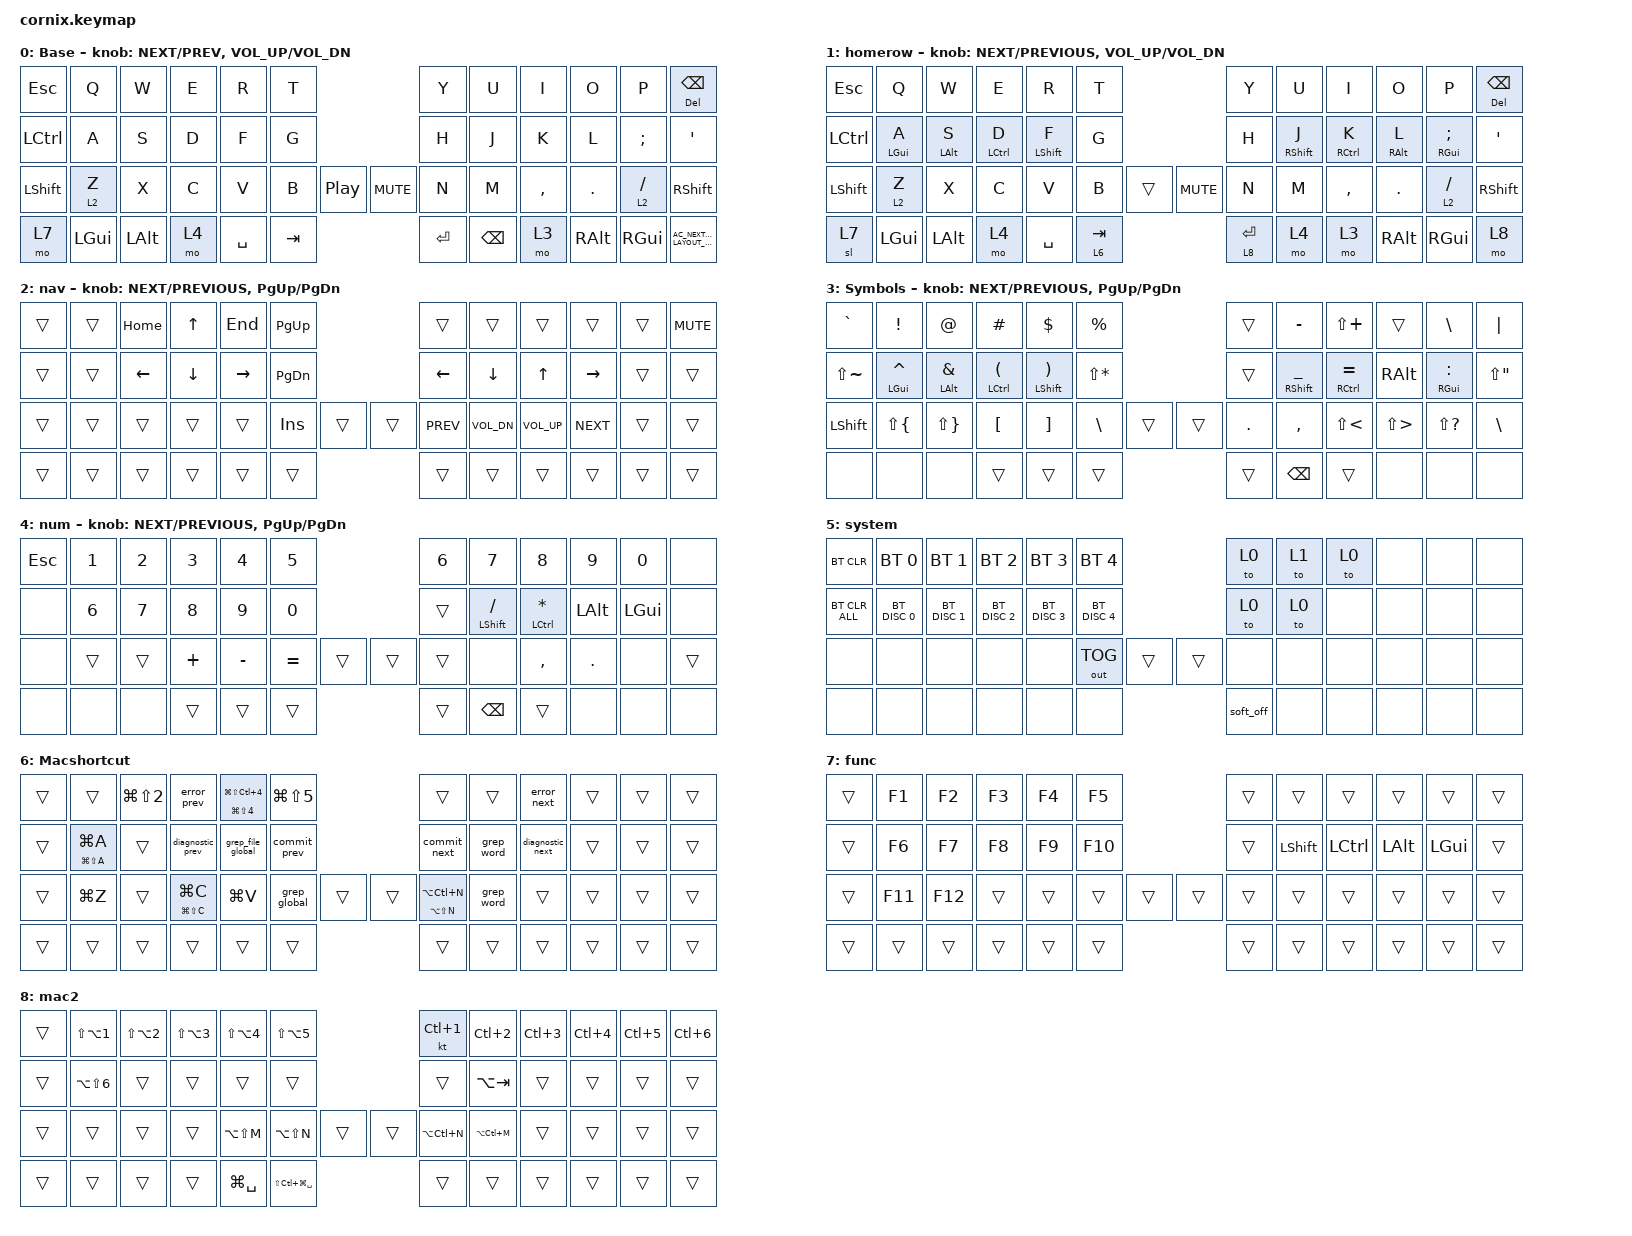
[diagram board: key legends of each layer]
/*
 * Copyright (c) 2020 The ZMK Contributors
 *
 * SPDX-License-Identifier: MIT
 */

#include "zmk-helpers/helper.h"
#include "includes/cornix54.h"

// tap windows for ctl alt and gui

#define HM_TAPPING_TERM 250
#define HM_TAPPING_REPEAT 210

// quick tapping for shift

#define HM_TAPPING_TERM_FAST 200
#define HM_PRIOR_IDLE 70
#define BASE 0
#define WIN 1
#define LOWER 2
#define RAISE 3
#define ADJUST 4
#define NAVI   5
#define NUM    6
#define DEBUG  7

// https://github.com/urob/zmk-config/tree/main#timeless-homerow-mods

#define KEYS_L LT0 LT1 LT2 LT3 LT4 LT5 LM0 LM1 LM2 LM3 LM4 LM5 LB0 LB1 LB2 LB3 LB4 LB5  // left hand
#define KEYS_R RT0 RT1 RT2 RT3 RT4 RT5 RM0 RM1 RM2 RM3 RM4 RM5 RB0 RB1 RB2 RB3 RB4 RB5  // right hand
#define THUMBS LH1 LH0 RH0 RH1
#define KEYS_T LH1 LH0 RH0 RH1
#define ZMK_POINTING_DEFAULT_SCRL_VAL 15

#include <behaviors.dtsi>
#include <dt-bindings/zmk/bt.h>
#include <dt-bindings/zmk/keys.h>
#include <dt-bindings/zmk/outputs.h>

/ {
    // Activate ADJUST layer by pressing raise and lower

    behaviors {
        hml: homerow_mods_left {
            compatible = "zmk,behavior-hold-tap";
            #binding-cells = <2>;
            bindings = <&kp>, <&kp>;

            flavor = "balanced";
            tapping-term-ms = <230>;
            quick-tap-ms = <175>;                // repeat on tap-into-hold
            require-prior-idle-ms = <150>;
            hold-trigger-key-positions = <KEYS_R KEYS_T 16 15 14 13>;
            hold-trigger-on-release;
        };

        hmr: homerow_mods_right {
            compatible = "zmk,behavior-hold-tap";
            #binding-cells = <2>;
            bindings = <&kp>, <&kp>;

            flavor = "balanced";
            tapping-term-ms = <230>;
            quick-tap-ms = <175>;
            require-prior-idle-ms = <150>;
            hold-trigger-key-positions = <KEYS_L KEYS_T 19 20 21 22>;
            hold-trigger-on-release;
        };

        // Positional Homerow mods for shift
        // Use faster tapping term and disable some features that may
        // cause false negatives.
        /*
         * Non-Positional Homerow Mods
         * Used for &mm_grescm_gui behavior on left hand.
         *
         * Usage: &hm LSHFT T
         * Tap: T
         * Tap-Tap-Hold: Repeat T
         * Hold: LSHIFT
         */

        hm: homerow_mods {
            compatible = "zmk,behavior-hold-tap";
            #binding-cells = <2>;
            bindings = <&kp>, <&kp>;

            flavor = "balanced";
            tapping-term-ms = <HM_TAPPING_TERM>;
            quick-tap-ms = <200>;
        };

        mac_bksp: mac_bksp {
            compatible = "zmk,behavior-tap-dance";
            label = "MAC_BKSP";
            #binding-cells = <0>;
            bindings =
                <&kp BACKSPACE>,
                <&kp LA(BACKSPACE)>,
                <&kp LG(BACKSPACE)>;

            tapping-term-ms = <180>;
        };
    };

    conditional_layers {
        compatible = "zmk,conditional-layers";

        system {
            if-layers = <4 3>;
            then-layer = <5>;
        };
    };

    combos {
        compatible = "zmk,combos";

        tog_mix {
            bindings = <&tog 4>;
            key-positions = <18 44>;
            layers = <1 0 4>;
        };

        escape {
            bindings = <&kp ESCAPE>;
            key-positions = <16 41>;
            layers = <1 0>;
        };

        tog_symb {
            bindings = <&tog 3>;
            key-positions = <19 44>;
            layers = <1 0 3>;
        };

        desktop-1 {
            bindings = <&kp LC(N1)>;
            key-positions = <12 1>;
            layers = <1>;
        };

        desktop-2 {
            bindings = <&kp LC(NUMBER_2)>;
            key-positions = <12 2>;
            layers = <1>;
        };

        desktop-3 {
            bindings = <&kp LC(NUMBER_3)>;
            key-positions = <12 3>;
            layers = <1>;
        };

        desktop-4 {
            bindings = <&kp LC(NUMBER_4)>;
            key-positions = <12 4>;
            layers = <1>;
        };

        desktop-5 {
            bindings = <&kp LC(N5)>;
            key-positions = <12 5>;
            layers = <1>;
        };

        caps {
            bindings = <&kt CAPSLOCK>;
            key-positions = <24 37>;
            layers = <0 1>;
        };

        left-parenthesis {
            bindings = <&kp LEFT_PARENTHESIS>;
            key-positions = <16 15>;
            layers = <1>;
        };

        right-parenthesis {
            bindings = <&kp RIGHT_PARENTHESIS>;
            key-positions = <19 20>;
            layers = <1>;
        };

        left-bracket {
            bindings = <&kp LEFT_BRACKET>;
            key-positions = <4 3>;
            layers = <1>;
        };

        right-bracket {
            bindings = <&kp RIGHT_BRACKET>;
            key-positions = <7 8>;
            layers = <1>;
        };

        left-brace {
            bindings = <&kp LEFT_BRACE>;
            key-positions = <28 27>;
            layers = <1>;
        };

        right-brace {
            bindings = <&kp RIGHT_BRACE>;
            key-positions = <33 34>;
            layers = <1>;
        };
    };

    macros {
        commit_next: commit_next {
            compatible = "zmk,behavior-macro";
            #binding-cells = <0>;
            bindings = <&kp RBKT &kp H>;
            label = "COMMIT_NEXT";
        };

        commit_prev: commit_prev {
            compatible = "zmk,behavior-macro";
            #binding-cells = <0>;
            bindings = <&kp LBKT &kp H>;
            label = "COMMIT_PREV";
        };

        error_next: error_next {
            compatible = "zmk,behavior-macro";
            #binding-cells = <0>;
            bindings = <&kp RBKT &kp E>;
            label = "ERROR_NEXT";
        };

        error_prev: error_prev {
            compatible = "zmk,behavior-macro";
            #binding-cells = <0>;
            bindings = <&kp LBKT &kp E>;
            label = "ERROR_PREV";
        };

        grep_file_global: grep_file_global {
            compatible = "zmk,behavior-macro";
            #binding-cells = <0>;
            bindings = <&kp SPACE &kp F &kp LS(F)>;
            label = "GREP_FILE_GLOBAL";
        };

        grep_global: grep_global {
            compatible = "zmk,behavior-macro";
            #binding-cells = <0>;
            bindings = <&kp SPACE &kp S &kp LS(G)>;
            label = "GREP_GLOBAL";
        };

        grep_word: grep_word {
            compatible = "zmk,behavior-macro";
            #binding-cells = <0>;
            bindings = <&kp SPACE &kp S &kp LS(W)>;
            label = "GREP_WORD";
        };

        diagnostic_next: diagnostic_next {
            compatible = "zmk,behavior-macro";
            #binding-cells = <0>;
            bindings = <&kp RBKT &kp D>;
            label = "DIAGNOSTIC_NEXT";
        };

        diagnostic_prev: diagnostic_prev {
            compatible = "zmk,behavior-macro";
            #binding-cells = <0>;
            bindings = <&kp LBKT &kp D>;
            label = "DIAGNOSTIC_PREV";
        };
    };

    keymap {
        compatible = "zmk,keymap";

        Base {
            display-name = "Base";

            // ------------------------------------------------------------------------------------------------------------
            // |   `   |  1  |  2  |  3   |  4   |  5   |                   |  6   |  7    |  8    |  9   |   0   |       |
            // |  ESC  |  Q  |  W  |  E   |  R   |  T   |                   |  Y   |  U    |  I    |  O   |   P   | BKSPC |
            // |  TAB  |  A  |  S  |  D   |  F   |  G   |                   |  H   |  J    |  K    |  L   |   ;   |   '   |
            // | SHIFT |  Z  |  X  |  C   |  V   |  B   |  MUTE  |  |       |  N   |  M    |  ,    |  .   |   /   | SHIFT |
            //               | GUI | ALT  | CTRL | LOWER|  ENTER |  | SPACE | RAISE| CTRL  | ALT   | GUI  |

            bindings = <
&kp ESCAPE  &kp Q     &kp W     &kp E  &kp R      &kp T                                  &kp Y      &kp U     &kp I      &kp O          &kp P          &mt DEL BACKSPACE
&kp LCTRL   &kp A     &kp S     &kp D  &kp F      &kp G                                  &kp H      &kp J     &kp K      &kp L          &kp SEMI       &kp SQT
&kp LSHFT   &lt 2 Z   &kp X     &kp C  &kp V      &kp B    &kp C_PLAY_PAUSE  &kp C_MUTE  &kp N      &kp M     &kp COMMA  &kp DOT        &lt 2 SLASH    &kp RSHFT
&mo 7       &kp LGUI  &kp LALT  &mo 4  &kp SPACE  &kp TAB                                &kp ENTER  &kp BSPC  &mo 3      &kp RIGHT_ALT  &kp RIGHT_GUI  &kp C_AC_NEXT_KEYBOARD_LAYOUT_SELECT
            >;

            sensor-bindings =
                <&inc_dec_kp C_NEXT C_PREV>,
                <&inc_dec_kp C_VOLUME_UP C_VOL_DN>;
        };

        Homerow {
            display-name = "homerow";
            bindings = <
&kp ESCAPE  &kp Q            &kp W            &kp E                &kp R              &kp T                          &kp Y        &kp U               &kp I                 &kp O             &kp P                &mt DELETE BACKSPACE
&kp LCTRL   &hml LEFT_GUI A  &hml LEFT_ALT S  &hml LEFT_CONTROL D  &hml LEFT_SHIFT F  &kp G                          &kp H        &hmr RIGHT_SHIFT J  &hmr RIGHT_CONTROL K  &hmr RIGHT_ALT L  &hmr RIGHT_GUI SEMI  &kp SQT
&kp LSHFT   &lt 2 Z          &kp X            &kp C                &kp V              &kp B      &trans  &kp C_MUTE  &kp N        &kp M               &kp COMMA             &kp DOT           &lt 2 SLASH          &kp RSHFT
&sl 7       &kp LGUI         &kp LALT         &mo 4                &kp SPACE          &lt 6 TAB                      &lt 8 ENTER  &mo 4               &mo 3                 &kp RIGHT_ALT     &kp RIGHT_GUI        &mo 8
            >;

            sensor-bindings =
                <&inc_dec_kp C_NEXT C_PREVIOUS>,
                <&inc_dec_kp C_VOLUME_UP C_VOL_DN>;

            label = "homerow";
        };

        Nav {
            display-name = "nav";

            // ------------------------------------------------------------------------------------------------------------
            // |   `   |  1  |  2  |  3   |  4   |  5   |                   |  6   |  7    |  8    |  9   |   0   |       |
            // |  ESC  |  Q  |  W  |  E   |  R   |  T   |                   |  Y   |  U    |  I    |  O   |   P   | BKSPC |
            // |  TAB  |  A  |  S  |  D   |  F   |  G   |                   |  H   |  J    |  K    |  L   |   ;   |   '   |
            // | SHIFT |  Z  |  X  |  C   |  V   |  B   |  MUTE  |  |       |  N   |  M    |  ,    |  .   |   /   | SHIFT |
            //               | GUI | ALT  | CTRL | LOWER|  ENTER |  | SPACE | RAISE| CTRL  | ALT   | GUI  |

            bindings = <
&trans  &trans  &kp HOME  &kp UP    &kp END    &kp PAGE_UP                    &trans      &trans        &trans           &trans      &trans  &kp C_MUTE
&trans  &trans  &kp LEFT  &kp DOWN  &kp RIGHT  &kp PAGE_DOWN                  &kp LEFT    &kp DOWN      &kp UP           &kp RIGHT   &trans  &trans
&trans  &trans  &trans    &trans    &trans     &kp INSERT     &trans  &trans  &kp C_PREV  &kp C_VOL_DN  &kp C_VOLUME_UP  &kp C_NEXT  &trans  &trans
&trans  &trans  &trans    &trans    &trans     &trans                         &trans      &trans        &trans           &trans      &trans  &trans
            >;

            sensor-bindings =
                <&inc_dec_kp C_NEXT C_PREVIOUS>,
                <&inc_dec_kp PG_UP PG_DN>;
        };

        Symbol_layer {
            display-name = "Symbols";

            // TODO: Some binds are waiting for shifted keycode support.
            // -------------------------------
            // |       |  F1 |  F2 |  F3  |  F4  |  F5  |                   |  F6  |  F7   |  F8   |  F9  |  F10  |  F11  |
            // |   `   |  1  |  2  |  3   |  4   |  5   |                   |  6   |  7    |  8    |  9   |   0   |  F12  |
            // |       |  !  |  @  |  #   |  $   |  %   |                   |  ^   |  &    |  *    |  (   |   )   |   |   |
            // |       |  =  |  -  |  +   |  {   |  }   |        |  |       |  [   |  ]    |  ;    |  :   |   \   |       |
            //               |     |      |      |      |        |  |       |      |       |       |      |

            bindings = <
&kp GRAVE       &kp EXCL             &kp AT              &kp HASH                            &kp DLLR                           &kp PRCNT                     &trans      &kp MINUS               &kp LS(PLUS)              &trans         &kp BACKSLASH         &kp PIPE
&kp LS(TILDE)   &hml LEFT_GUI CARET  &hml LEFT_ALT AMPS  &hml LEFT_CONTROL LEFT_PARENTHESIS  &hml LEFT_SHIFT RIGHT_PARENTHESIS  &kp LS(STAR)                  &trans      &hmr RIGHT_SHIFT UNDER  &hmr RIGHT_CONTROL EQUAL  &kp RIGHT_ALT  &hmr RIGHT_GUI COLON  &kp LS(DQT)
&kp LEFT_SHIFT  &kp LS(LBRC)         &kp LS(RBRC)        &kp LEFT_BRACKET                    &kp RIGHT_BRACKET                  &kp BSLH      &trans  &trans  &kp PERIOD  &kp COMMA               &kp LS(LT)                &kp LS(GT)     &kp LS(QMARK)         &kp BACKSLASH
&none           &none                &none               &trans                              &trans                             &trans                        &trans      &kp BACKSPACE           &trans                    &none          &none                 &none
            >;

            sensor-bindings =
                <&inc_dec_kp C_NEXT C_PREVIOUS>,
                <&inc_dec_kp PG_UP PG_DN>;
        };

        Num {
            display-name = "num";

            // ------------------------------------------------------------------------------------------------------------
            // | BTCLR | BT1  | BT2  |  BT3  |  BT4  |  BT5 |                |      |      |       |      |       |       |
            // |       | INS  | PSCR | GUI   |       |      |                | PGUP |      |   ^   |      |       |       |
            // |       | ALT  | CTRL | SHIFT |       | CAPS |                | PGDN |   <- |   v   |  ->  |  DEL  | BKSPC |
            // |       | UNDO | CUT  | COPY  | PASTE |      |      |  |      |      |      |       |      |       |       |
            //                |      |       |       |      |      |  |      |      |      |       |      |

            bindings = <
&kp ESCAPE  &kp N1  &kp N2  &kp N3    &kp N4     &kp N5                     &kp N6  &kp N7           &kp N8           &kp N9    &kp N0    &none
&none       &kp N6  &kp N7  &kp N8    &kp N9     &kp N0                     &trans  &mt LSHFT SLASH  &mt LCTRL ASTRK  &kp LALT  &kp LGUI  &none
&none       &trans  &trans  &kp PLUS  &kp MINUS  &kp EQUAL  &trans  &trans  &trans  &none            &kp COMMA        &kp DOT   &none     &trans
&none       &none   &none   &trans    &trans     &trans                     &trans  &kp BACKSPACE    &trans           &none     &none     &none
            >;

            sensor-bindings =
                <&inc_dec_kp C_NEXT C_PREVIOUS>,
                <&inc_dec_kp PG_UP PG_DN>;
        };

        System {
            display-name = "system";

            // ----------------------------------------------------------------------------------------------------------------------------
            // | BTCLR  |  BT1    |  BT2    |   BT3   |   BT4   |   BT5   |                  |      |      |       |      |       |       |
            // | moDEBUG| RGB_HUD | RGB_HUI | RGB_SAD | RGB_SAI | RGB_EFF |                  |      |      |       |      |       |       |
            // | EXTPWR | RGB_BRD | RGB_BRI |         |         |         |                  |      |      |       |      |       |       |
            // |        |         |         |         |         |         | RGB_TOG | |      |      |      |       |      |       |       |
            //                    |         |         |         |         |         | |      |      |      |       |      |

            bindings = <
&bt BT_CLR      &bt BT_SEL 0   &bt BT_SEL 1   &bt BT_SEL 2   &bt BT_SEL 3   &bt BT_SEL 4                   &to 0      &to 1  &to 0  &none  &none  &none
&bt BT_CLR_ALL  &bt BT_DISC 0  &bt BT_DISC 1  &bt BT_DISC 2  &bt BT_DISC 3  &bt BT_DISC 4                  &to 0      &to 0  &none  &none  &none  &none
&none           &none          &none          &none          &none          &out OUT_TOG   &trans  &trans  &none      &none  &none  &none  &none  &none
&none           &none          &none          &none          &none          &none                          &soft_off  &none  &none  &none  &none  &none
            >;
        };

        Macshortcut {
            bindings = <
&trans  &trans               &kp LG(LS(NUMBER_2))  &error_prev          &mt LG(LS(NUMBER_4)) LG(LS(LC(NUMBER_4)))  &kp LG(LS(N5))                  &trans                   &trans      &error_next       &trans  &trans  &trans
&trans  &mt LG(LS(A)) LG(A)  &trans                &diagnostic_prev     &grep_file_global                          &commit_prev                    &commit_next             &grep_word  &diagnostic_next  &trans  &trans  &trans
&trans  &kp LG(Z)            &trans                &mt LG(LS(C)) LG(C)  &kp LG(V)                                  &grep_global    &trans  &trans  &mt LA(LS(N)) LA(LC(N))  &grep_word  &trans            &trans  &trans  &trans
&trans  &trans               &trans                &trans               &trans                                     &trans                          &trans                   &trans      &trans            &trans  &trans  &trans
            >;
        };

        Func {
            bindings = <
&trans  &kp F1   &kp F2   &kp F3  &kp F4  &kp F5                   &trans  &trans     &trans     &trans    &trans    &trans
&trans  &kp F6   &kp F7   &kp F8  &kp F9  &kp F10                  &trans  &kp LSHFT  &kp LCTRL  &kp LALT  &kp LGUI  &trans
&trans  &kp F11  &kp F12  &trans  &trans  &trans   &trans  &trans  &trans  &trans     &trans     &trans    &trans    &trans
&trans  &trans   &trans   &trans  &trans  &trans                   &trans  &trans     &trans     &trans    &trans    &trans
            >;

            label = "func";
        };

        mac2 {
            bindings = <
&trans  &kp LS(LA(NUMBER_1))  &kp LS(LA(NUMBER_2))  &kp LS(LA(NUMBER_3))  &kp LS(LA(NUMBER_4))  &kp LS(LA(N5))                         &kt LC(NUMBER_1)  &kp LC(N2)     &kp LC(N3)  &kp LC(N4)  &kp LC(N5)  &kp LC(N6)
&trans  &kp LA(LS(NUMBER_6))  &trans                &trans                &trans                &trans                                 &trans            &kp LA(TAB)    &trans      &trans      &trans      &trans
&trans  &trans                &trans                &trans                &kp LA(LS(M))         &kp LA(LS(N))          &trans  &trans  &kp LA(LC(N))     &kp LA(LC(M))  &trans      &trans      &trans      &trans
&trans  &trans                &trans                &trans                &kp LG(SPACE)         &kp LS(LC(LG(SPACE)))                  &trans            &trans         &trans      &trans      &trans      &trans
            >;

            label = "mac2";
        };
    };
};
